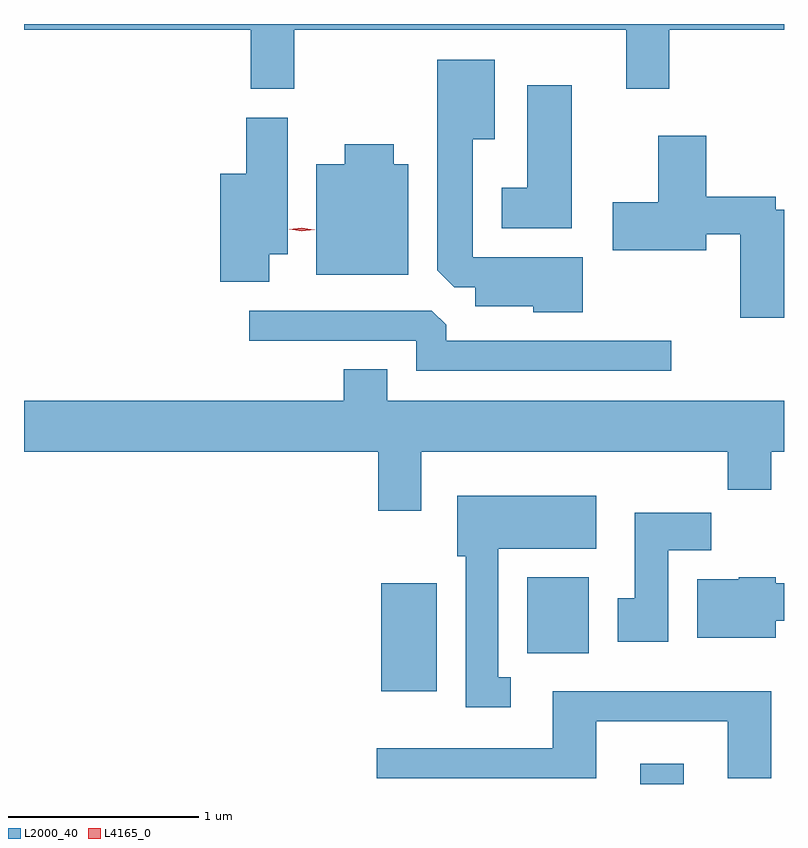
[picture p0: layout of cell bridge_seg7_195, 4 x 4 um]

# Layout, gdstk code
import gdstk
lib = gdstk.Library(unit=1e-6, precision=1e-09)
def R(c, l, rs):  # rectangles x0, y0, x1, y1
    for r in rs: c.add(gdstk.rectangle(r[:2], r[2:], *l))
def P(c, l, *ps):  # polygons
    for p in ps: c.add(gdstk.Polygon(p, *l))
L2000_40 = (2000, 40)
L4165_0 = (4165, 0)

bridge_seg7_195 = lib.new_cell('bridge_seg7_195')
R(bridge_seg7_195, L2000_40, [(1579.341,1670.387,1579.569,1670.494), (1577.976,1670.876,1578.269,1671.444), (1578.746,1671.076,1579.069,1671.474)])
P(bridge_seg7_195, L2000_40, [(1577.519,1674.356),(1579.266,1674.356),(1579.266,1674.046),(1579.494,1674.046),(1579.494,1674.356),(1580.097,1674.356),(1580.097,1674.387),(1576.097,1674.387),(1576.097,1674.356),(1577.291,1674.356),(1577.291,1674.046),(1577.519,1674.046)],
  [(1579.039,1673.159),(1578.459,1673.159),(1578.459,1673.781),(1578.574,1673.781),(1578.574,1674.199),(1578.271,1674.199),(1578.271,1673.092),(1578.362,1673.001),(1578.471,1673.001),(1578.471,1672.901),(1578.776,1672.901),(1578.776,1672.871),(1579.039,1672.871)],
  [(1578.979,1674.064),(1578.746,1674.064),(1578.746,1673.524),(1578.611,1673.524),(1578.611,1673.311),(1578.979,1673.311)],
  [(1577.389,1673.176),(1577.484,1673.176),(1577.484,1673.894),(1577.266,1673.894),(1577.266,1673.599),(1577.131,1673.599),(1577.131,1673.031),(1577.389,1673.031)],
  [(1580.097,1673.409),(1580.054,1673.409),(1580.054,1673.479),(1579.689,1673.479),(1579.689,1673.799),(1579.436,1673.799),(1579.436,1673.449),(1579.196,1673.449),(1579.196,1673.196),(1579.689,1673.196),(1579.689,1673.281),(1579.866,1673.281),(1579.866,1672.841),(1580.097,1672.841)],
  [(1578.119,1673.649),(1578.044,1673.649),(1578.044,1673.754),(1577.786,1673.754),(1577.786,1673.649),(1577.636,1673.649),(1577.636,1673.066),(1578.119,1673.066)],
  [(1579.503,1672.719),(1578.319,1672.719),(1578.319,1672.804),(1578.244,1672.879),(1577.283,1672.879),(1577.283,1672.721),(1578.161,1672.721),(1578.161,1672.561),(1579.503,1672.561)],
  [(1578.189,1672.136),(1579.801,1672.136),(1579.801,1671.936),(1580.029,1671.936),(1580.029,1672.136),(1580.097,1672.136),(1580.097,1672.404),(1578.009,1672.404),(1578.009,1672.569),(1577.781,1672.569),(1577.781,1672.404),(1576.097,1672.404),(1576.097,1672.136),(1577.961,1672.136),(1577.961,1671.826),(1578.189,1671.826)],
  [(1578.658,1670.949),(1578.594,1670.949),(1578.594,1671.626),(1579.109,1671.626),(1579.109,1671.904),(1578.376,1671.904),(1578.376,1671.586),(1578.421,1671.586),(1578.421,1670.791),(1578.658,1670.791)],
  [(1579.489,1671.616),(1579.714,1671.616),(1579.714,1671.814),(1579.311,1671.814),(1579.311,1671.364),(1579.221,1671.364),(1579.221,1671.136),(1579.489,1671.136)],
  [(1580.054,1671.246),(1580.097,1671.246),(1580.097,1671.444),(1580.054,1671.444),(1580.054,1671.474),(1579.86,1671.474),(1579.86,1671.464),(1579.641,1671.464),(1579.641,1671.156),(1580.054,1671.156)],
  [(1579.109,1670.716),(1579.801,1670.716),(1579.801,1670.416),(1580.029,1670.416),(1580.029,1670.874),(1578.881,1670.874),(1578.881,1670.574),(1577.953,1670.574),(1577.953,1670.416),(1579.109,1670.416)])
P(bridge_seg7_195, L4165_0, [(1577.559,1673.295),(1577.493,1673.306),(1577.493,1673.306),(1577.493,1673.307),(1577.56,1673.315),(1577.625,1673.304),(1577.626,1673.304),(1577.625,1673.303)])

lib.write_gds('bridge_seg7_195.gds')
